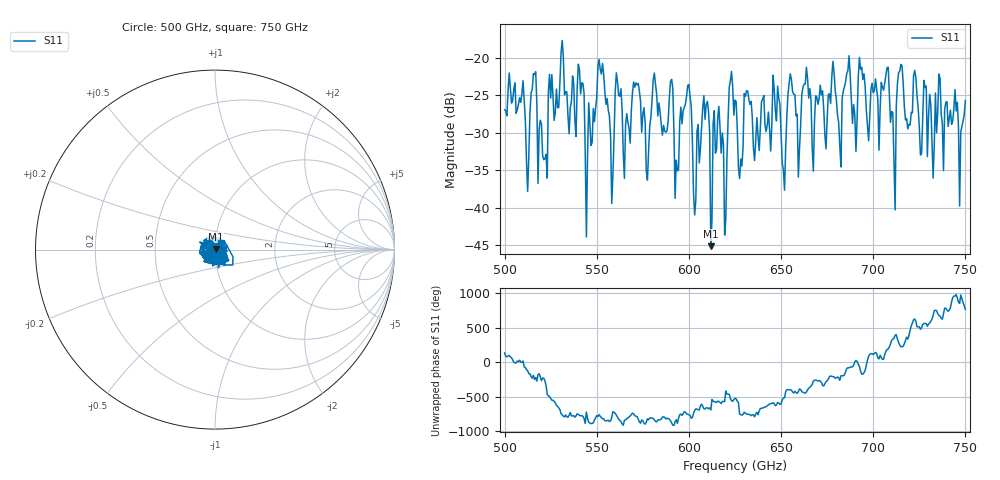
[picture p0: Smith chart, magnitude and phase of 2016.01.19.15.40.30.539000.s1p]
!Created with skrf (http://scikit-rf.org).
# GHz S RI R 50.0
!freq ReS11 ImS11
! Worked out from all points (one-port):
!   401 points, 500 GHz to 750 GHz, reference 50 ohm
!   lowest |S11| = -45.1 dB at 611.9 GHz (marker M1), VSWR 1.01, Z = 50.5 + j0.296 ohm
!   |S11| at or under -10 dB: start of sweep to end of sweep
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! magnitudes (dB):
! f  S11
! 500 GHz  -26.9
! 512.5 GHz  -37.8
! 515.6 GHz  -22.1
! 521.9 GHz  -33.5
! 531.2 GHz  -17.7
! 541.2 GHz  -24.8
! 545 GHz  -33.2
! 551.9 GHz  -21.5
! 558.1 GHz  -39.5
! 562.5 GHz  -25.1
! 577.5 GHz  -36.3
! 590 GHz  -23.1
! 593.8 GHz  -35.1
! 599.4 GHz  -23.7
! 603.1 GHz  -41.0
! 608.8 GHz  -28.2
! 611.9 GHz  -45.1
! 625 GHz  -25.6
! 628.1 GHz  -33.5
! 631.2 GHz  -24.4
! 646.9 GHz  -27.0
! 651.2 GHz  -35.0
! 656.2 GHz  -24.5
! 659.4 GHz  -35.9
! 663.1 GHz  -23.5
! 687.5 GHz  -22.3
! 718.8 GHz  -29.5
! 750 GHz  -25.7
